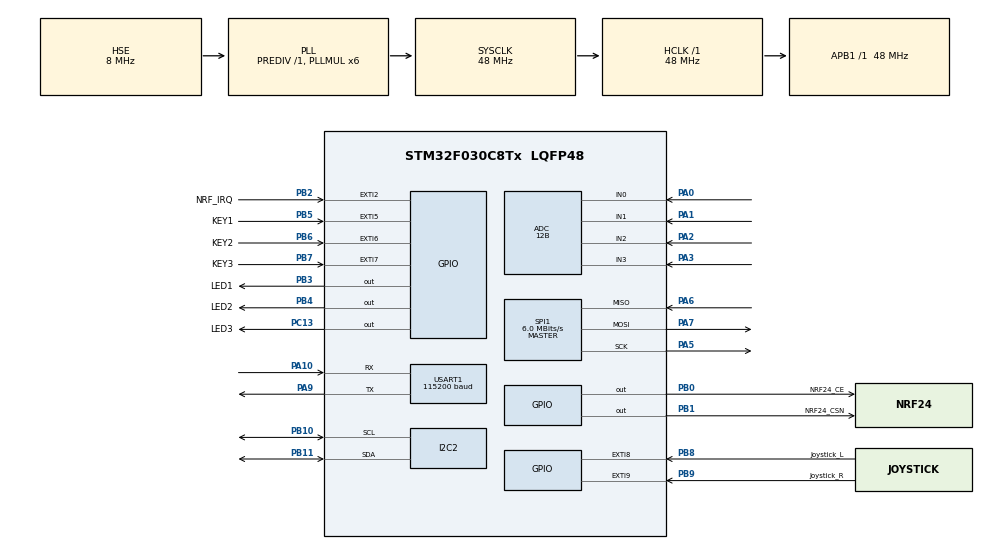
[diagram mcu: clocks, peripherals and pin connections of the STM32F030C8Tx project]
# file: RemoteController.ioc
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ADC.ClockPrescaler=ADC_CLOCK_SYNC_PCLK_DIV4
ADC.ContinuousConvMode=ENABLE
ADC.DMAContinuousRequests=ENABLE
ADC.EOCSelection=ADC_EOC_SEQ_CONV
ADC.Overrun=ADC_OVR_DATA_OVERWRITTEN
ADC.Resolution=ADC_RESOLUTION_12B
ADC.SamplingTime=ADC_SAMPLETIME_239CYCLES_5
Dma.ADC.0.Direction=DMA_PERIPH_TO_MEMORY
Dma.ADC.0.Instance=DMA1_Channel1
Dma.ADC.0.MemDataAlignment=DMA_MDATAALIGN_HALFWORD
Dma.ADC.0.MemInc=DMA_MINC_ENABLE
Dma.ADC.0.Mode=DMA_CIRCULAR
Dma.ADC.0.PeriphDataAlignment=DMA_PDATAALIGN_HALFWORD
Dma.ADC.0.PeriphInc=DMA_PINC_DISABLE
Dma.ADC.0.Priority=DMA_PRIORITY_MEDIUM
Dma.Request0=ADC
FREERTOS.BinarySemaphores01=nrfIT,Dynamic,NULL
FREERTOS.Events01=REM_StatusFlag,Dynamic,NULL
FREERTOS.Queues01=txQueue,10,12,1,Dynamic,NULL,NULL
FREERTOS.Tasks01=MainTask,47,128,StartDefaultTask,Default,NULL,Dynamic,NULL,NULL;Radiolink,17,128,RadioLink,Default,NULL,Dynamic,NULL,NULL;Commandersend,26,128,CommanderSend,Default,NULL,Dynamic,NULL,NULL
I2C2.Timing=0x20303E5D
Mcu.Family=STM32F0
Mcu.Name=STM32F030C8Tx
Mcu.Package=LQFP48
NVIC.ADC1_IRQn=true\:3\:0\:false\:false\:true\:true\:true\:true
NVIC.DMA1_Channel1_IRQn=true\:3\:0\:false\:false\:true\:true\:false\:true
NVIC.EXTI2_3_IRQn=true\:3\:0\:false\:false\:true\:true\:true\:true
NVIC.EXTI4_15_IRQn=true\:3\:0\:false\:false\:true\:true\:true\:true
NVIC.I2C2_IRQn=true\:3\:0\:false\:false\:true\:true\:true\:true
NVIC.SPI1_IRQn=true\:3\:0\:false\:false\:true\:true\:true\:true
NVIC.TIM1_BRK_UP_TRG_COM_IRQn=true\:0\:0\:false\:false\:true\:false\:false\:true
NVIC.TimeBase=TIM1_BRK_UP_TRG_COM_IRQn
NVIC.TimeBaseIP=TIM1
NVIC.USART1_IRQn=true\:3\:0\:false\:false\:true\:true\:true\:true
PA0.Mode=IN0
PA0.Signal=ADC_IN0
PA1.Mode=IN1
PA1.Signal=ADC_IN1
PA10.Mode=Asynchronous
PA10.Signal=USART1_RX
PA13.Mode=Serial_Wire
PA13.Signal=SYS_SWDIO
PA14.Mode=Serial_Wire
PA14.Signal=SYS_SWCLK
PA2.Mode=IN2
PA2.Signal=ADC_IN2
PA3.Mode=IN3
PA3.Signal=ADC_IN3
PA5.Mode=Full_Duplex_Master
PA5.Signal=SPI1_SCK
PA6.Mode=Full_Duplex_Master
PA6.Signal=SPI1_MISO
PA7.Mode=Full_Duplex_Master
PA7.Signal=SPI1_MOSI
PA9.Mode=Asynchronous
PA9.Signal=USART1_TX
PB0.GPIO_Label=NRF24_CE
PB0.GPIO_ModeDefaultOutputPP=GPIO_MODE_OUTPUT_PP
PB0.GPIO_PuPd=GPIO_PULLUP
PB0.PinState=GPIO_PIN_RESET
PB0.Signal=GPIO_Output
PB1.GPIO_Label=NRF24_CSN
PB1.GPIO_ModeDefaultOutputPP=GPIO_MODE_OUTPUT_PP
PB1.GPIO_PuPd=GPIO_PULLUP
PB1.PinState=GPIO_PIN_SET
PB1.Signal=GPIO_Output
PB10.GPIO_Pu=GPIO_PULLUP
PB10.Mode=I2C
PB10.Signal=I2C2_SCL
PB11.GPIO_Pu=GPIO_PULLUP
PB11.Mode=I2C
PB11.Signal=I2C2_SDA
PB2.GPIO_Label=NRF_IRQ
PB2.GPIO_ModeDefaultEXTI=GPIO_MODE_IT_FALLING
PB2.GPIO_PuPd=GPIO_PULLUP
PB2.Signal=GPXTI2
PB3.GPIO_Label=LED1
PB3.GPIO_ModeDefaultOutputPP=GPIO_MODE_OUTPUT_PP
PB3.GPIO_PuPd=GPIO_PULLUP
PB3.GPIO_Speed=GPIO_SPEED_FREQ_LOW
PB3.PinState=GPIO_PIN_SET
PB3.Signal=GPIO_Output
PB4.GPIO_Label=LED2
PB4.GPIO_ModeDefaultOutputPP=GPIO_MODE_OUTPUT_PP
PB4.GPIO_PuPd=GPIO_PULLUP
PB4.GPIO_Speed=GPIO_SPEED_FREQ_LOW
PB4.PinState=GPIO_PIN_SET
PB4.Signal=GPIO_Output
PB5.GPIO_Label=KEY1
PB5.GPIO_ModeDefaultEXTI=GPIO_MODE_IT_FALLING
PB5.GPIO_PuPd=GPIO_PULLUP
PB5.Signal=GPXTI5
PB6.GPIO_Label=KEY2
PB6.GPIO_ModeDefaultEXTI=GPIO_MODE_IT_FALLING
PB6.GPIO_PuPd=GPIO_PULLUP
PB6.Signal=GPXTI6
PB7.GPIO_Label=KEY3
PB7.GPIO_ModeDefaultEXTI=GPIO_MODE_IT_FALLING
PB7.GPIO_PuPd=GPIO_PULLUP
PB7.Signal=GPXTI7
PB8.GPIO_Label=Joystick_L
PB8.GPIO_PuPd=GPIO_PULLUP
PB8.Signal=GPXTI8
PB9.GPIO_Label=Joystick_R
PB9.GPIO_PuPd=GPIO_PULLUP
PB9.Signal=GPXTI9
PC13.GPIO_Label=LED3
PC13.GPIO_PuPd=GPIO_PULLUP
PC13.PinState=GPIO_PIN_SET
PC13.Signal=GPIO_Output
PC14-OSC32_IN.Mode=LSE-External-Oscillator
PC14-OSC32_IN.Signal=RCC_OSC32_IN
PC15-OSC32_OUT.Mode=LSE-External-Oscillator
PC15-OSC32_OUT.Signal=RCC_OSC32_OUT
PF0-OSC_IN.Mode=HSE-External-Oscillator
PF0-OSC_IN.Signal=RCC_OSC_IN
PF1-OSC_OUT.Mode=HSE-External-Oscillator
PF1-OSC_OUT.Signal=RCC_OSC_OUT
ProjectManager.HeapSize=0x200
ProjectManager.StackSize=0x400
ProjectManager.TargetToolchain=MDK-ARM V5.27
RCC.AHBFreq_Value=48000000
RCC.APB1Freq_Value=48000000
RCC.APB1TimFreq_Value=48000000
RCC.HCLKFreq_Value=48000000
RCC.I2c1ClockSelection=RCC_I2C1CLKSOURCE_SYSCLK
RCC.PLLMUL=RCC_PLL_MUL6
RCC.PLLSourceVirtual=RCC_PLLSOURCE_HSE
RCC.RTCClockSelection=RCC_RTCCLKSOURCE_LSE
RCC.SYSCLKFreq_VALUE=48000000
RCC.SYSCLKSource=RCC_SYSCLKSOURCE_PLLCLK
RTC.AsynchPrediv=127
RTC.Format=RTC_FORMAT_BIN
RTC.Hours=8
RTC.Minutes=15
RTC.Month=RTC_MONTH_MAY
RTC.Seconds=30
RTC.StoreOperation=RTC_STOREOPERATION_RESET
RTC.SynchPrediv=255
RTC.Year=21
SPI1.BaudRatePrescaler=SPI_BAUDRATEPRESCALER_8
SPI1.CLKPhase=SPI_PHASE_1EDGE
SPI1.CLKPolarity=SPI_POLARITY_LOW
SPI1.CalculateBaudRate=6.0 MBits/s
SPI1.DataSize=SPI_DATASIZE_8BIT
SPI1.Direction=SPI_DIRECTION_2LINES
SPI1.Mode=SPI_MODE_MASTER
SPI1.VirtualType=VM_MASTER
USART1.BaudRate=115200
USART1.VirtualMode-Asynchronous=VM_ASYNC
VP_FREERTOS_VS_CMSIS_V2.Mode=CMSIS_V2
VP_RTC_VS_RTC_Activate.Mode=RTC_Enabled
VP_RTC_VS_RTC_Calendar.Mode=RTC_Calendar
VP_SYS_VS_tim1.Mode=TIM1
board=custom

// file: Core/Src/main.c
/* USER CODE BEGIN Header */
/**
  ******************************************************************************
  * @file           : main.c
  * @brief          : Main program body
  ******************************************************************************
  * @attention
  *
  * <h2><center>&copy; Copyright (c) 2021 STMicroelectronics.
  * All rights reserved.</center></h2>
  *
  * This software component is licensed by ST under Ultimate Liberty license
  * SLA0044, the "License"; You may not use this file except in compliance with
  * the License. You may obtain a copy of the License at:
  *                             www.st.com/SLA0044
  *
  ******************************************************************************
  */
/* USER CODE END Header */
#include "main.h"
#include "cmsis_os.h"
#include "adc.h"
#include "dma.h"
#include "i2c.h"
#include "rtc.h"
#include "spi.h"
#include "usart.h"
#include "gpio.h"

/* USER CODE BEGIN Includes */
#include "management.h"
/* USER CODE END Includes */

void SystemClock_Config(void);
void MX_FREERTOS_Init(void);

int main(void)
{

  /* MCU Configuration--------------------------------------------------------*/

  /* Reset of all peripherals, Initializes the Flash interface and the Systick. */
  HAL_Init();

  /* Configure the system clock */
  SystemClock_Config();

  /* Initialize all configured peripherals */
  MX_GPIO_Init();
  MX_DMA_Init();
  MX_SPI1_Init();
  MX_ADC_Init();
  MX_USART1_UART_Init();
  MX_I2C2_Init();
  MX_RTC_Init();
  /* USER CODE BEGIN 2 */
	HardWare_Init();
  /* USER CODE END 2 */

  /* Init scheduler */
  osKernelInitialize();  /* Call init function for freertos objects (in freertos.c) */
  MX_FREERTOS_Init();
  /* Start scheduler */
  osKernelStart();

  /* We should never get here as control is now taken by the scheduler */
  /* Infinite loop */
  while (1)
  {

  }
}

void SystemClock_Config(void)
{
  RCC_OscInitTypeDef RCC_OscInitStruct = {0};
  RCC_ClkInitTypeDef RCC_ClkInitStruct = {0};
  RCC_PeriphCLKInitTypeDef PeriphClkInit = {0};

  /** Configure LSE Drive Capability
  */
  HAL_PWR_EnableBkUpAccess();
  __HAL_RCC_LSEDRIVE_CONFIG(RCC_LSEDRIVE_HIGH);
  /** Initializes the RCC Oscillators according to the specified parameters
  * in the RCC_OscInitTypeDef structure.
  */
  RCC_OscInitStruct.OscillatorType = RCC_OSCILLATORTYPE_HSE|RCC_OSCILLATORTYPE_LSE;
  RCC_OscInitStruct.HSEState = RCC_HSE_ON;
  RCC_OscInitStruct.LSEState = RCC_LSE_ON;
  RCC_OscInitStruct.PLL.PLLState = RCC_PLL_ON;
  RCC_OscInitStruct.PLL.PLLSource = RCC_PLLSOURCE_HSE;
  RCC_OscInitStruct.PLL.PLLMUL = RCC_PLL_MUL6;
  RCC_OscInitStruct.PLL.PREDIV = RCC_PREDIV_DIV1;
  if (HAL_RCC_OscConfig(&RCC_OscInitStruct) != HAL_OK)
  {
    Error_Handler();
  }
  /** Initializes the CPU, AHB and APB buses clocks
  */
  RCC_ClkInitStruct.ClockType = RCC_CLOCKTYPE_HCLK|RCC_CLOCKTYPE_SYSCLK
                              |RCC_CLOCKTYPE_PCLK1;
  RCC_ClkInitStruct.SYSCLKSource = RCC_SYSCLKSOURCE_PLLCLK;
  RCC_ClkInitStruct.AHBCLKDivider = RCC_SYSCLK_DIV1;
  RCC_ClkInitStruct.APB1CLKDivider = RCC_HCLK_DIV1;

  if (HAL_RCC_ClockConfig(&RCC_ClkInitStruct, FLASH_LATENCY_1) != HAL_OK)
  {
    Error_Handler();
  }
  PeriphClkInit.PeriphClockSelection = RCC_PERIPHCLK_USART1|RCC_PERIPHCLK_RTC;
  PeriphClkInit.Usart1ClockSelection = RCC_USART1CLKSOURCE_PCLK1;
  PeriphClkInit.RTCClockSelection = RCC_RTCCLKSOURCE_LSE;
  if (HAL_RCCEx_PeriphCLKConfig(&PeriphClkInit) != HAL_OK)
  {
    Error_Handler();
  }
}

 /**
  * @brief  Period elapsed callback in non blocking mode
  * @note   This function is called  when TIM1 interrupt took place, inside
  * HAL_TIM_IRQHandler(). It makes a direct call to HAL_IncTick() to increment
  * a global variable "uwTick" used as application time base.
  * @param  htim : TIM handle
  * @retval None
  */
void HAL_TIM_PeriodElapsedCallback(TIM_HandleTypeDef *htim)
{
  if (htim->Instance == TIM1) {
    HAL_IncTick();
  }
}

void Error_Handler(void)
{
  __disable_irq();
  while (1)
  {
  }
}

/************************ (C) COPYRIGHT STMicroelectronics *****END OF FILE****/

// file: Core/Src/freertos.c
/* USER CODE BEGIN Header */
/**
  ******************************************************************************
  * File Name          : freertos.c
  * Description        : Code for freertos applications
  ******************************************************************************
  * @attention
  *
  * <h2><center>&copy; Copyright (c) 2021 STMicroelectronics.
  * All rights reserved.</center></h2>
  *
  * This software component is licensed by ST under Ultimate Liberty license
  * SLA0044, the "License"; You may not use this file except in compliance with
  * the License. You may obtain a copy of the License at:
  *                             www.st.com/SLA0044
  *
  ******************************************************************************
  */
/* USER CODE END Header */

#include "FreeRTOS.h"
#include "task.h"
#include "main.h"
#include "cmsis_os.h"

/* USER CODE BEGIN Includes */
#include "24l01.h"
#include "stdio.h"
#include "radiolink.h"
#include "remoter_ctrl.h"
#include "oled.h"
/* USER CODE END Includes */

/* Definitions for MainTask */
osThreadId_t MainTaskHandle;
const osThreadAttr_t MainTask_attributes = {
  .name = "MainTask",
  .stack_size = 128 * 4,
  .priority = (osPriority_t) osPriorityHigh7,
};
/* Definitions for Radiolink */
osThreadId_t RadiolinkHandle;
const osThreadAttr_t Radiolink_attributes = {
  .name = "Radiolink",
  .stack_size = 128 * 4,
  .priority = (osPriority_t) osPriorityBelowNormal1,
};
/* Definitions for Commandersend */
osThreadId_t CommandersendHandle;
const osThreadAttr_t Commandersend_attributes = {
  .name = "Commandersend",
  .stack_size = 128 * 4,
  .priority = (osPriority_t) osPriorityNormal2,
};
/* Definitions for txQueue */
osMessageQueueId_t txQueueHandle;
const osMessageQueueAttr_t txQueue_attributes = {
  .name = "txQueue"
};
/* Definitions for nrfIT */
osSemaphoreId_t nrfITHandle;
const osSemaphoreAttr_t nrfIT_attributes = {
  .name = "nrfIT"
};
/* Definitions for REM_StatusFlag */
osEventFlagsId_t REM_StatusFlagHandle;
const osEventFlagsAttr_t REM_StatusFlag_attributes = {
  .name = "REM_StatusFlag"
};

void StartDefaultTask(void *argument);
void RadioLink(void *argument);
void CommanderSend(void *argument);

void MX_FREERTOS_Init(void); /* (MISRA C 2004 rule 8.1) */

void MX_FREERTOS_Init(void) {

  /* Create the semaphores(s) */
  /* creation of nrfIT */
  nrfITHandle = osSemaphoreNew(1, 1, &nrfIT_attributes);

  /* Create the queue(s) */
  /* creation of txQueue */
  txQueueHandle = osMessageQueueNew (10, 12, &txQueue_attributes);

  /* Create the thread(s) */
  /* creation of MainTask */
  MainTaskHandle = osThreadNew(StartDefaultTask, NULL, &MainTask_attributes);

  /* creation of Radiolink */
  RadiolinkHandle = osThreadNew(RadioLink, NULL, &Radiolink_attributes);

  /* creation of Commandersend */
  CommandersendHandle = osThreadNew(CommanderSend, NULL, &Commandersend_attributes);

  /* Create the event(s) */
  /* creation of REM_StatusFlag */
  REM_StatusFlagHandle = osEventFlagsNew(&REM_StatusFlag_attributes);

}

void StartDefaultTask(void *argument)
{
  /* USER CODE BEGIN StartDefaultTask */
	Management_Prepare();
  /* Infinite loop */
  for(;;)
  {
	  LED3_Tog();
		LED2_Tog();
		LED1_Tog();
		//Task_Management();
    osDelay(1000);
  }
  /* USER CODE END StartDefaultTask */
}

void RadioLink(void *argument)
{
  /* USER CODE BEGIN RadioLink */
  /* Infinite loop */
  for(;;)
  {
    radiolinkTask();
		osDelay(10);
  }
  /* USER CODE END RadioLink */
}

void CommanderSend(void *argument)
{
  /* USER CODE BEGIN CommanderSend */
  /* Infinite loop */
  for(;;)
  {
		//队列阻塞创建管理函数同时运行函数

		commanderTask();
    osDelay(10);
  }
  /* USER CODE END CommanderSend */
}

/************************ (C) COPYRIGHT STMicroelectronics *****END OF FILE****/
